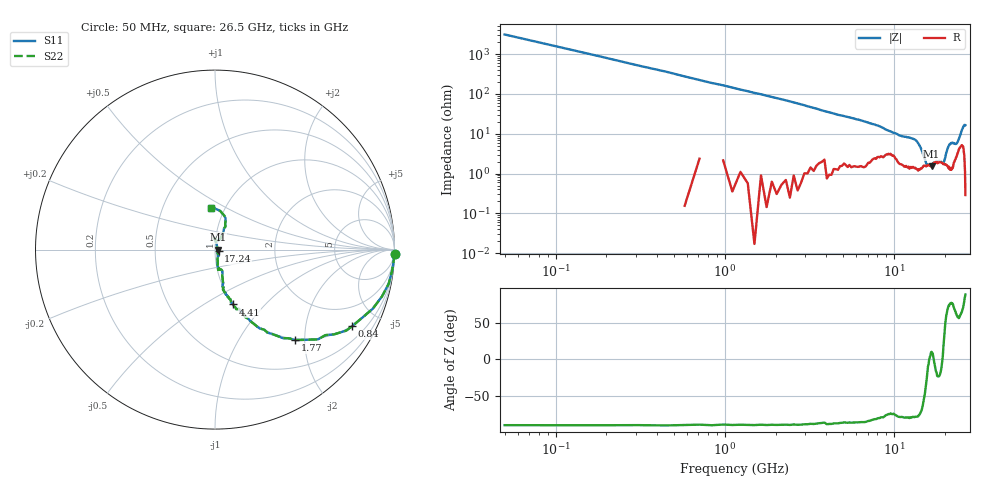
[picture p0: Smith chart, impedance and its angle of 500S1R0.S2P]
!  American Technical Ceramics  Date:  3/6/98
!  One Norden Lane
!  Huntington Station,  NY.  11746-2102
!  Tel:  (516) 547-5700  Fax:  (516) 547-5748
!  Part Number  500S1R0
!  Description: Broadband Microwave capacitor
!  Application:
# GHZ S DB R 50
! Freq  |S11|  S11 Ph  |S21|  S21 Ph  |S12|  S12 Ph  |S22|  S22 Ph
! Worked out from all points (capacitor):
!   201 points, 50 MHz to 26.5 GHz, reference 50 ohm
!   read as one part in series: C = 996 fF near 180 MHz
!   lowest |Z| = 1.52 ohm at 16.71 GHz (marker M1)
!   series resonance near 16.19 GHz, so ESL is about 97 pH
!   S11 on the Smith chart (normalised r, x): 50 MHz: -3, -76; 840 MHz: 0.98, -3.58; 1.77 GHz: 0.98, -1.80; 4.41 GHz: 1.00, -0.68; 17.24 GHz: 1.04, -0.02; 26.5 GHz: 0.87, +0.42
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0.05  0.01 -1.5  -29.82 88.6  -29.82 88.6  0.01 -1.5
0.18  -0.05 -6.5  -19.02 83.7  -19.02 83.7  -0.05 -6.5
0.31  -0.12 -11.2  -14.33 78.9  -14.33 78.9  -0.12 -11.2
0.84  -1.16 -29.2  -6.68 61.2  -6.68 61.2  -1.16 -29.2
1.77  -3.44 -48.5  -2.60 41.3  -2.60 41.3  -3.44 -48.5
3.09  -7.08 -63.8  -1.05 25.2  -1.05 25.2  -7.08 -63.8
4.41  -9.85 -71.6  -0.58 16.1  -0.58 16.1  -9.85 -71.6
4.55  -10.02 -72.2  -0.55 15.3  -0.55 15.3  -10.02 -72.2
8.91  -16.97 -73.1  -0.34 5.9  -0.34 5.9  -16.97 -73.1
13.28  -19.52 -81.2  -0.17 1.8  -0.17 1.8  -19.52 -81.2
14.47  -24.16 -76.0  -0.13 1.1  -0.13 1.1  -24.16 -76.0
15.79  -35.91 -20.3  -0.14 0.2  -0.14 0.2  -35.91 -20.3
16.71  -36.08 1.9  -0.12 -0.3  -0.12 -0.3  -36.08 1.9
17.24  -33.17 -26.3  -0.15 -0.5  -0.15 -0.5  -33.17 -26.3
17.77  -30.37 -49.5  -0.15 -0.7  -0.15 -0.7  -30.37 -49.5
18.96  -28.12 -62.8  -0.17 -1.4  -0.17 -1.4  -28.12 -62.8
20.15  -36.50 14.3  -0.16 -1.9  -0.16 -1.9  -36.50 14.3
21.21  -25.81 86.2  -0.26 -2.7  -0.26 -2.7  -25.81 86.2
22.14  -23.71 91.5  -0.31 -2.8  -0.31 -2.8  -23.71 91.5
23.59  -25.69 71.8  -0.38 -2.7  -0.38 -2.7  -25.69 71.8
25.57  -15.16 70.1  -0.53 -4.3  -0.53 -4.3  -15.16 70.1
26.5  -12.77 94.9  -0.67 -5.2  -0.67 -5.2  -12.77 94.9
